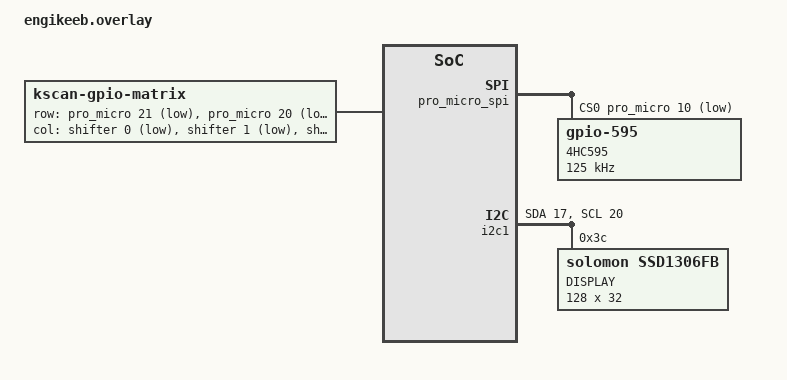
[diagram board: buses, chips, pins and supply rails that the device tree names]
/*
 * Copyright (c) 2021 The ZMK Contributors
 *
 * SPDX-License-Identifier: MIT
 */

/*  #include <dt-bindings/zmk/matrix_transform.h>  */

&pro_micro_spi {
	status = "okay";
	cs-gpios = <&pro_micro 10 GPIO_ACTIVE_LOW>;
	shifter: 595@0 {
		compatible = "zmk,gpio-595";
		status = "okay";
		gpio-controller;
		spi-max-frequency = <125000>;
		reg = <0>;
		label = "4HC595";
		#gpio-cells = <2>;
		ngpios = <24>;
	};
};



/ {
	chosen {
		zephyr,display = &oled;
		zmk,kscan = &kscan0;
	};


	kscan0: kscan_0 {
		compatible = "zmk,kscan-gpio-matrix";
		label = "KSCAN";

		diode-direction = "col2row";
		row-gpios
			= <&pro_micro 21  (GPIO_ACTIVE_LOW)>
			, <&pro_micro 20  (GPIO_ACTIVE_LOW)>
			, <&pro_micro 19  (GPIO_ACTIVE_LOW)>
			, <&pro_micro 18  (GPIO_ACTIVE_LOW)>
			, <&pro_micro 5   (GPIO_ACTIVE_LOW)>
			, <&pro_micro 6   (GPIO_ACTIVE_LOW)>
			;
		col-gpios
			= <&shifter 0  GPIO_ACTIVE_LOW>
			, <&shifter 1  GPIO_ACTIVE_LOW>
			, <&shifter 2  GPIO_ACTIVE_LOW>
			, <&shifter 3  GPIO_ACTIVE_LOW>
            , <&shifter 4  GPIO_ACTIVE_LOW>
			, <&shifter 5  GPIO_ACTIVE_LOW>
			, <&shifter 6  GPIO_ACTIVE_LOW>
			, <&shifter 7  GPIO_ACTIVE_LOW>
            , <&shifter 8  GPIO_ACTIVE_LOW>
			, <&shifter 9  GPIO_ACTIVE_LOW>
            , <&shifter 10 GPIO_ACTIVE_LOW>
		    , <&shifter 11 GPIO_ACTIVE_LOW>
			, <&shifter 12 GPIO_ACTIVE_LOW>
			, <&shifter 13 GPIO_ACTIVE_LOW>
            , <&shifter 14 GPIO_ACTIVE_LOW>
			, <&shifter 15 GPIO_ACTIVE_LOW>
			, <&shifter 16 GPIO_ACTIVE_LOW>
			, <&shifter 17 GPIO_ACTIVE_LOW>
            , <&shifter 18 GPIO_ACTIVE_LOW>
			, <&shifter 19 GPIO_ACTIVE_LOW>
            , <&shifter 20 GPIO_ACTIVE_LOW>
			;
	};

	encoder_1: encoder_1 {
		compatible = "alps,ec11";
		label = "Encoder 1";
		a-gpios = <&pro_micro 7 (GPIO_ACTIVE_HIGH | GPIO_PULL_UP)>;
		b-gpios = <&pro_micro 8 (GPIO_ACTIVE_HIGH | GPIO_PULL_UP)>;
		resolution = <2>;
		status = "disabled";
	};
	
};

&i2c1 {
	status = "okay";
    compatible = "nordic,nrf-twim";
	sda-pin = <17>;
	scl-pin = <20>;
	zephyr,concat-buf-size = <1024>;
	oled: ssd1306@3c {
		compatible = "solomon,ssd1306fb";
		reg = <0x3c>;
		label = "DISPLAY";
		width = <128>;
		height = <32>;
		segment-offset = <0>;
		page-offset = <0>;
		display-offset = <0>;
		multiplex-ratio = <31>;
		segment-remap;
		com-invdir;
		com-sequential;
		prechargep = <0x22>;
	};
};
